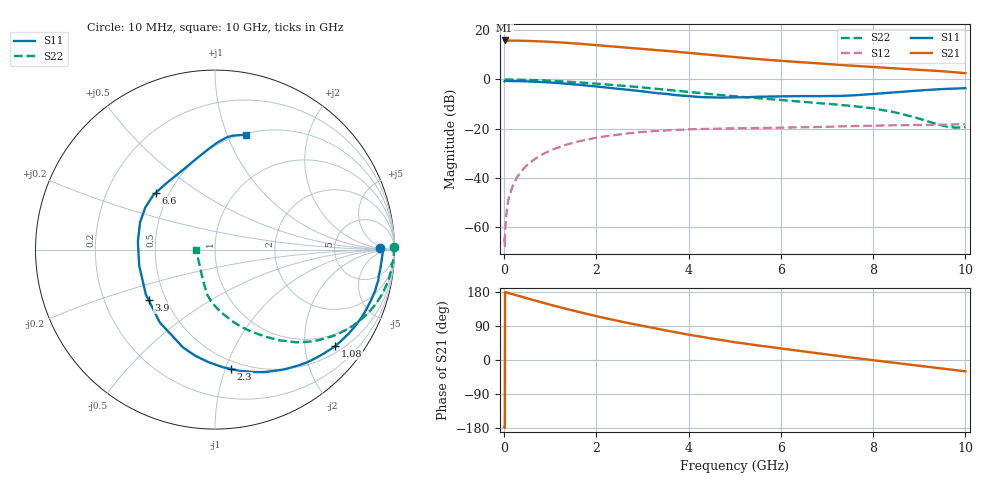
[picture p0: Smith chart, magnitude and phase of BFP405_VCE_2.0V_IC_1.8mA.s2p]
! Infineon Technologies  Discrete & RF Semiconductors
! BFP405
! VCE =  2.0 V,  IC =  1.8 mA
! Common Emitter S-Parameters:  Jan 2016
# GHz  S  MA  R  50
!  f  S11  S21  S12  S22
! GHz  MAG  ANG  MAG  ANG  MAG  ANG  MAG  ANG
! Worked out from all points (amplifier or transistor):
!   233 points, 10 MHz to 10 GHz, reference 50 ohm
!   highest |S21| = 15.9 dB at 10 MHz (marker M1)
!   |S21| within 3 dB of that: start of sweep to 2.717 GHz
!   unconditionally stable (mu >= 1): 4.505 GHz to end of sweep
!   at 200 MHz: K = 0.03, MSG = 29.3 dB, |S12| = -42.9 dB
!   at 1.74 GHz: K = 0.30, MSG = 19.5 dB, |S12| = -24.7 dB
!   at 10 GHz: K = 1.74, MAG = 5.4 dB, |S12| = -18.3 dB
!   S11 on the Smith chart (normalised r, x): 10 MHz: 23, +3; 1.08 GHz: 0.66, -2.70; 2.3 GHz: 0.43, -1.05; 3.9 GHz: 0.40, -0.29; 6.6 GHz: 0.42, +0.34; 10 GHz: 0.51, +1.17
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0.01  0.9175 0.7  6.231 -177.3  0.0006 -18.4  1 0.7
0.015  0.9264 0.0  6.183 -179.1  0.0004 36.7  0.9969 0.4
0.02  0.9354 -0.6  6.141 179.0  0.0007 81.3  0.9938 0.1
0.05  0.9328 -2.0  6.127 178.5  0.0018 90.3  0.9969 -0.7
0.095  0.9299 -3.3  6.163 176.5  0.0036 89.3  0.9971 -1.7
0.26  0.9244 -9.1  6.175 171.0  0.0094 85.7  0.9875 -5.1
0.68  0.9008 -24.2  6.013 156.7  0.0244 77.2  0.9708 -12.9
1.08  0.8585 -38.7  5.79 143.3  0.0381 69.3  0.9359 -20.3
1.4  0.8132 -50.2  5.538 133.2  0.0484 63.0  0.8995 -26.0
1.68  0.7699 -60.1  5.299 124.8  0.0565 57.7  0.8645 -30.5
2  0.7197 -71.6  5.012 115.6  0.0649 51.9  0.8225 -35.4
2.3  0.6713 -82.3  4.751 107.6  0.0717 46.8  0.7817 -39.5
2.84  0.5948 -102.1  4.319 93.9  0.0823 38.3  0.7082 -46.7
3.4  0.5172 -123.0  3.897 80.6  0.0903 30.1  0.631 -53.5
3.9  0.4641 -142.9  3.545 69.2  0.0952 23.8  0.5667 -59.3
4.5  0.4318 -167.8  3.158 56.5  0.0993 17.1  0.4998 -66.1
5.1  0.4324 171.3  2.801 45.3  0.1013 11.7  0.4457 -72.2
6.6  0.457 136.3  2.194 20.9  0.1064 2.7  0.344 -85.5
6.8  0.456 131.6  2.127 17.7  0.1074 1.6  0.3317 -87.3
8.4  0.5411 97.0  1.695 -6.4  0.116 -7.6  0.2203 -104.6
9.6  0.6429 81.1  1.446 -24.1  0.1204 -13.9  0.109 -147.7
10  0.6635 74.7  1.341 -30.0  0.1217 -15.7  0.1066 -178.3
